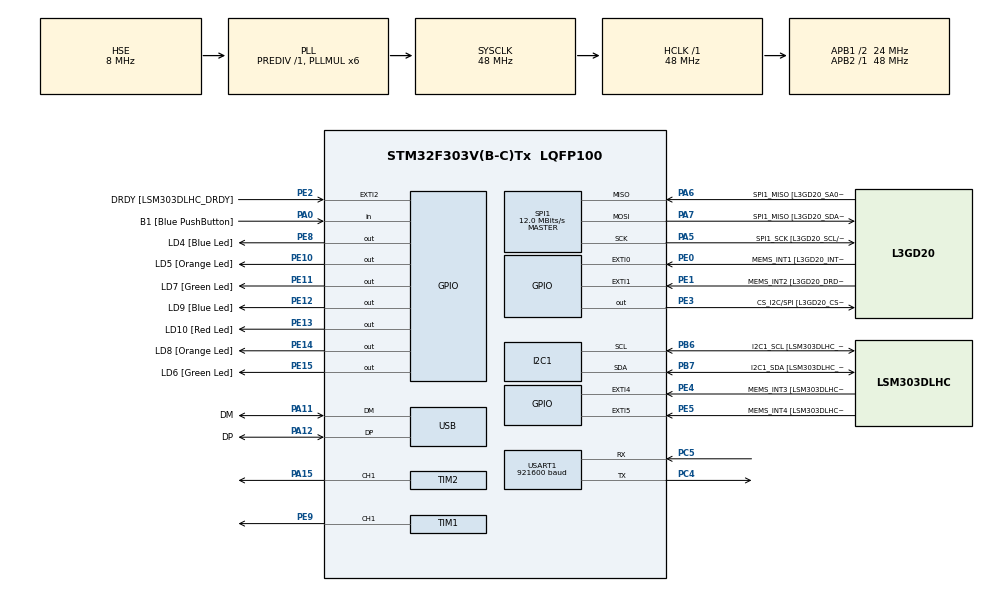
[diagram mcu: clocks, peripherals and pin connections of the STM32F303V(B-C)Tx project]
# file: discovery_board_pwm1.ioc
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I2C1.Timing=0x00201D2B
I2C1.Timing-I2C=0x2000090E
Mcu.Family=STM32F3
Mcu.Name=STM32F303V(B-C)Tx
Mcu.Package=LQFP100
NVIC.PriorityGroup=NVIC_PRIORITYGROUP_0
PA0.GPIO_Label=B1 [Blue PushButton]
PA0.Signal=GPIO_Input
PA11.GPIO_Label=DM
PA11.Mode=Device
PA11.Signal=USB_DM
PA12.GPIO_Label=DP
PA12.Mode=Device
PA12.Signal=USB_DP
PA13.GPIO_Label=SWDIO
PA13.Mode=Serial_Wire
PA13.Signal=SYS_JTMS-SWDIO
PA14.GPIO_Label=SWCLK
PA14.Mode=Serial_Wire
PA14.Signal=SYS_JTCK-SWCLK
PA15.Signal=S_TIM2_CH1_ETR
PA5.GPIO_Label=SPI1_SCK [L3GD20_SCL/SPC]
PA5.Mode=Full_Duplex_Master
PA5.Signal=SPI1_SCK
PA6.GPIO_Label=SPI1_MISO [L3GD20_SA0/SDO]
PA6.Mode=Full_Duplex_Master
PA6.Signal=SPI1_MISO
PA7.GPIO_Label=SPI1_MISO [L3GD20_SDA/SDI/SDO]
PA7.Mode=Full_Duplex_Master
PA7.Signal=SPI1_MOSI
PB3.GPIO_Label=SWO
PB3.Signal=SYS_JTDO-TRACESWO
PB6.GPIO_Label=I2C1_SCL [LSM303DLHC_SCL]
PB6.GPIO_Pu=GPIO_PULLUP
PB6.Mode=I2C
PB6.Signal=I2C1_SCL
PB7.GPIO_Label=I2C1_SDA [LSM303DLHC_SDA]
PB7.GPIO_Pu=GPIO_PULLUP
PB7.Mode=I2C
PB7.Signal=I2C1_SDA
PC14-OSC32_IN.GPIO_Label=OSC32_IN
PC14-OSC32_IN.Signal=RCC_OSC32_IN
PC15-OSC32_OUT.GPIO_Label=OSC32_OUT
PC15-OSC32_OUT.Signal=RCC_OSC32_OUT
PC4.Mode=Asynchronous
PC4.Signal=USART1_TX
PC5.Mode=Asynchronous
PC5.Signal=USART1_RX
PE0.GPIO_Label=MEMS_INT1 [L3GD20_INT1]
PE0.GPIO_ModeDefaultEXTI=GPIO_MODE_EVT_RISING
PE0.Signal=GPXTI0
PE1.GPIO_Label=MEMS_INT2 [L3GD20_DRDY/INT2]
PE1.GPIO_ModeDefaultEXTI=GPIO_MODE_EVT_RISING
PE1.Signal=GPXTI1
PE10.GPIO_Label=LD5 [Orange Led]
PE10.Signal=GPIO_Output
PE11.GPIO_Label=LD7 [Green Led]
PE11.Signal=GPIO_Output
PE12.GPIO_Label=LD9 [Blue Led]
PE12.Signal=GPIO_Output
PE13.GPIO_Label=LD10 [Red Led]
PE13.Signal=GPIO_Output
PE14.GPIO_Label=LD8 [Orange Led]
PE14.Signal=GPIO_Output
PE15.GPIO_Label=LD6 [Green Led]
PE15.Signal=GPIO_Output
PE2.GPIO_Label=DRDY [LSM303DLHC_DRDY]
PE2.GPIO_ModeDefaultEXTI=GPIO_MODE_EVT_RISING
PE2.Signal=GPXTI2
PE3.GPIO_Label=CS_I2C/SPI [L3GD20_CS_I2C/SPI]
PE3.Signal=GPIO_Output
PE4.GPIO_Label=MEMS_INT3 [LSM303DLHC_INT1]
PE4.GPIO_ModeDefaultEXTI=GPIO_MODE_EVT_RISING
PE4.Signal=GPXTI4
PE5.GPIO_Label=MEMS_INT4 [LSM303DLHC_INT2]
PE5.GPIO_ModeDefaultEXTI=GPIO_MODE_EVT_RISING
PE5.Signal=GPXTI5
PE8.GPIO_Label=LD4 [Blue Led]
PE8.Signal=GPIO_Output
PE9.Signal=S_TIM1_CH1
PF0-OSC_IN.GPIO_Label=OSC_IN
PF0-OSC_IN.Mode=HSE-External-Clock-Source
PF0-OSC_IN.Signal=RCC_OSC_IN
PF1-OSC_OUT.GPIO_Label=OSC_OUT
PF1-OSC_OUT.Signal=RCC_OSC_OUT
ProjectManager.HeapSize=0x200
ProjectManager.StackSize=0x400
ProjectManager.TargetToolchain=STM32CubeIDE
RCC.AHBFreq_Value=48000000
RCC.APB1CLKDivider=RCC_HCLK_DIV2
RCC.APB1Freq_Value=24000000
RCC.APB1TimFreq_Value=48000000
RCC.APB2Freq_Value=48000000
RCC.APB2TimFreq_Value=48000000
RCC.CortexFreq_Value=48000000
RCC.HCLKFreq_Value=48000000
RCC.HSE_VALUE=8000000
RCC.HSI_VALUE=8000000
RCC.LSE_VALUE=32768
RCC.PLLMUL=RCC_PLL_MUL6
RCC.SYSCLKFreq_VALUE=48000000
RCC.SYSCLKSourceVirtual=RCC_SYSCLKSOURCE_PLLCLK
RCC.USBFreq_Value=48000000
SH.S_TIM1_CH1.0=TIM1_CH1,PWM Generation1 CH1
SH.S_TIM2_CH1_ETR.0=TIM2_CH1,PWM Generation1 CH1
SPI1.BaudRatePrescaler=SPI_BAUDRATEPRESCALER_4
SPI1.BaudRatePrescaler-Full_Duplex_Master=SPI_BAUDRATEPRESCALER_2
SPI1.CalculateBaudRate=12.0 MBits/s
SPI1.CalculateBaudRate-Full_Duplex_Master=24.0 MBits/s
SPI1.Direction=SPI_DIRECTION_2LINES
SPI1.Mode=SPI_MODE_MASTER
SPI1.Mode-Full_Duplex_Master=SPI_MODE_MASTER
SPI1.VirtualType=VM_MASTER
TIM1.Channel-PWM\ Generation1\ CH1=TIM_CHANNEL_1
TIM1.Period=3199
TIM1.Prescaler=5999
TIM1.Pulse-PWM\ Generation1\ CH1=1600
TIM2.Channel-PWM\ Generation1\ CH1=TIM_CHANNEL_1
TIM2.Period=3199
TIM2.Prescaler=5999
TIM2.Pulse-PWM\ Generation1\ CH1=1600
USART1.BaudRate=921600
USART1.VirtualMode-Asynchronous=VM_ASYNC
VP_TIM1_VS_ClockSourceINT.Mode=Internal
VP_TIM2_VS_ClockSourceINT.Mode=Internal
board=STM32F3DISCOVERY

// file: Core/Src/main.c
/* USER CODE BEGIN Header */
/**
  ******************************************************************************
  * @file           : main.c
  * @brief          : Main program body
  ******************************************************************************
  * @attention
  *
  * Copyright (c) 2025 STMicroelectronics.
  * All rights reserved.
  *
  * This software is licensed under terms that can be found in the LICENSE file
  * in the root directory of this software component.
  * If no LICENSE file comes with this software, it is provided AS-IS.
  *
  ******************************************************************************
  */
/* USER CODE END Header */
#include "main.h"

/* USER CODE BEGIN Includes */
#include <stdio.h>

/* USER CODE END Includes */

I2C_HandleTypeDef hi2c1;

SPI_HandleTypeDef hspi1;

TIM_HandleTypeDef htim1;
TIM_HandleTypeDef htim2;

UART_HandleTypeDef huart1;

PCD_HandleTypeDef hpcd_USB_FS;

void SystemClock_Config(void);
static void MX_GPIO_Init(void);
static void MX_I2C1_Init(void);
static void MX_SPI1_Init(void);
static void MX_USB_PCD_Init(void);
static void MX_USART1_UART_Init(void);
static void MX_TIM1_Init(void);
static void MX_TIM2_Init(void);

/* USER CODE BEGIN 0 */

// Send printf to uart1
int _write(int fd, char* ptr, int len) {
  HAL_StatusTypeDef hstatus;

  if (fd == 1 || fd == 2) {
    hstatus = HAL_UART_Transmit(&huart1, (uint8_t *) ptr, len, HAL_MAX_DELAY);
    if (hstatus == HAL_OK)
      return len;
    else
      return -1;
  }
  return -1;
}

/* USER CODE END 0 */

int main(void)
{

  /* MCU Configuration--------------------------------------------------------*/

  /* Reset of all peripherals, Initializes the Flash interface and the Systick. */
  HAL_Init();

  /* Configure the system clock */
  SystemClock_Config();

  /* Initialize all configured peripherals */
  MX_GPIO_Init();
  MX_I2C1_Init();
  MX_SPI1_Init();
  MX_USB_PCD_Init();
  MX_USART1_UART_Init();
  MX_TIM1_Init();
  MX_TIM2_Init();
  /* USER CODE BEGIN 2 */

  printf("\n\n\nPWM1 starting\n");

  printf("Starting timer channel");
  HAL_TIM_PWM_Start(&htim1, TIM_CHANNEL_1);
  HAL_TIM_PWM_Start(&htim2, TIM_CHANNEL_1);

  /* USER CODE END 2 */

  /* Infinite loop */
  /* USER CODE BEGIN WHILE */

  uint16_t pwm_value = 0;
  int8_t pwm_change = 5;

  uint32_t now = 0, loop_cnt = 0, next_tick = 1000, next_change = 0;

  while (1)
  {
	  now = HAL_GetTick();

	  if ( now >= next_tick) {

		  printf("Tick %lu ( loop = %lu)\n", now / 1000, loop_cnt);

		  loop_cnt = 0;
		  next_tick = now + 1000;
	  }

	  if ( now > next_change) {

		  __HAL_TIM_SET_COMPARE(&htim1, TIM_CHANNEL_1, pwm_value);
		  __HAL_TIM_SET_COMPARE(&htim2, TIM_CHANNEL_1, pwm_value);

		  pwm_value += pwm_change;

		  if(pwm_value == 0) pwm_change = 5;
		  if(pwm_value == 3200) pwm_change = -5;

		  next_change = now + 10;
	  }
	  ++loop_cnt;

    /* USER CODE END WHILE */

  }
}

void SystemClock_Config(void)
{
  RCC_OscInitTypeDef RCC_OscInitStruct = {0};
  RCC_ClkInitTypeDef RCC_ClkInitStruct = {0};
  RCC_PeriphCLKInitTypeDef PeriphClkInit = {0};

  /** Initializes the RCC Oscillators according to the specified parameters
  * in the RCC_OscInitTypeDef structure.
  */
  RCC_OscInitStruct.OscillatorType = RCC_OSCILLATORTYPE_HSI|RCC_OSCILLATORTYPE_HSE;
  RCC_OscInitStruct.HSEState = RCC_HSE_BYPASS;
  RCC_OscInitStruct.HSEPredivValue = RCC_HSE_PREDIV_DIV1;
  RCC_OscInitStruct.HSIState = RCC_HSI_ON;
  RCC_OscInitStruct.HSICalibrationValue = RCC_HSICALIBRATION_DEFAULT;
  RCC_OscInitStruct.PLL.PLLState = RCC_PLL_ON;
  RCC_OscInitStruct.PLL.PLLSource = RCC_PLLSOURCE_HSE;
  RCC_OscInitStruct.PLL.PLLMUL = RCC_PLL_MUL6;
  if (HAL_RCC_OscConfig(&RCC_OscInitStruct) != HAL_OK)
  {
    Error_Handler();
  }

  /** Initializes the CPU, AHB and APB buses clocks
  */
  RCC_ClkInitStruct.ClockType = RCC_CLOCKTYPE_HCLK|RCC_CLOCKTYPE_SYSCLK
                              |RCC_CLOCKTYPE_PCLK1|RCC_CLOCKTYPE_PCLK2;
  RCC_ClkInitStruct.SYSCLKSource = RCC_SYSCLKSOURCE_PLLCLK;
  RCC_ClkInitStruct.AHBCLKDivider = RCC_SYSCLK_DIV1;
  RCC_ClkInitStruct.APB1CLKDivider = RCC_HCLK_DIV2;
  RCC_ClkInitStruct.APB2CLKDivider = RCC_HCLK_DIV1;

  if (HAL_RCC_ClockConfig(&RCC_ClkInitStruct, FLASH_LATENCY_1) != HAL_OK)
  {
    Error_Handler();
  }
  PeriphClkInit.PeriphClockSelection = RCC_PERIPHCLK_USB|RCC_PERIPHCLK_USART1
                              |RCC_PERIPHCLK_I2C1|RCC_PERIPHCLK_TIM1;
  PeriphClkInit.Usart1ClockSelection = RCC_USART1CLKSOURCE_PCLK2;
  PeriphClkInit.I2c1ClockSelection = RCC_I2C1CLKSOURCE_HSI;
  PeriphClkInit.USBClockSelection = RCC_USBCLKSOURCE_PLL;
  PeriphClkInit.Tim1ClockSelection = RCC_TIM1CLK_HCLK;
  if (HAL_RCCEx_PeriphCLKConfig(&PeriphClkInit) != HAL_OK)
  {
    Error_Handler();
  }
}

static void MX_I2C1_Init(void)
{

  hi2c1.Instance = I2C1;
  hi2c1.Init.Timing = 0x00201D2B;
  hi2c1.Init.OwnAddress1 = 0;
  hi2c1.Init.AddressingMode = I2C_ADDRESSINGMODE_7BIT;
  hi2c1.Init.DualAddressMode = I2C_DUALADDRESS_DISABLE;
  hi2c1.Init.OwnAddress2 = 0;
  hi2c1.Init.OwnAddress2Masks = I2C_OA2_NOMASK;
  hi2c1.Init.GeneralCallMode = I2C_GENERALCALL_DISABLE;
  hi2c1.Init.NoStretchMode = I2C_NOSTRETCH_DISABLE;
  if (HAL_I2C_Init(&hi2c1) != HAL_OK)
  {
    Error_Handler();
  }

  /** Configure Analogue filter
  */
  if (HAL_I2CEx_ConfigAnalogFilter(&hi2c1, I2C_ANALOGFILTER_ENABLE) != HAL_OK)
  {
    Error_Handler();
  }

  /** Configure Digital filter
  */
  if (HAL_I2CEx_ConfigDigitalFilter(&hi2c1, 0) != HAL_OK)
  {
    Error_Handler();
  }

}

static void MX_SPI1_Init(void)
{

  /* SPI1 parameter configuration*/
  hspi1.Instance = SPI1;
  hspi1.Init.Mode = SPI_MODE_MASTER;
  hspi1.Init.Direction = SPI_DIRECTION_2LINES;
  hspi1.Init.DataSize = SPI_DATASIZE_4BIT;
  hspi1.Init.CLKPolarity = SPI_POLARITY_LOW;
  hspi1.Init.CLKPhase = SPI_PHASE_1EDGE;
  hspi1.Init.NSS = SPI_NSS_SOFT;
  hspi1.Init.BaudRatePrescaler = SPI_BAUDRATEPRESCALER_4;
  hspi1.Init.FirstBit = SPI_FIRSTBIT_MSB;
  hspi1.Init.TIMode = SPI_TIMODE_DISABLE;
  hspi1.Init.CRCCalculation = SPI_CRCCALCULATION_DISABLE;
  hspi1.Init.CRCPolynomial = 7;
  hspi1.Init.CRCLength = SPI_CRC_LENGTH_DATASIZE;
  hspi1.Init.NSSPMode = SPI_NSS_PULSE_ENABLE;
  if (HAL_SPI_Init(&hspi1) != HAL_OK)
  {
    Error_Handler();
  }

}

static void MX_TIM1_Init(void)
{

  TIM_ClockConfigTypeDef sClockSourceConfig = {0};
  TIM_MasterConfigTypeDef sMasterConfig = {0};
  TIM_OC_InitTypeDef sConfigOC = {0};
  TIM_BreakDeadTimeConfigTypeDef sBreakDeadTimeConfig = {0};

  htim1.Instance = TIM1;
  htim1.Init.Prescaler = 5999;
  htim1.Init.CounterMode = TIM_COUNTERMODE_UP;
  htim1.Init.Period = 3199;
  htim1.Init.ClockDivision = TIM_CLOCKDIVISION_DIV1;
  htim1.Init.RepetitionCounter = 0;
  htim1.Init.AutoReloadPreload = TIM_AUTORELOAD_PRELOAD_DISABLE;
  if (HAL_TIM_Base_Init(&htim1) != HAL_OK)
  {
    Error_Handler();
  }
  sClockSourceConfig.ClockSource = TIM_CLOCKSOURCE_INTERNAL;
  if (HAL_TIM_ConfigClockSource(&htim1, &sClockSourceConfig) != HAL_OK)
  {
    Error_Handler();
  }
  if (HAL_TIM_PWM_Init(&htim1) != HAL_OK)
  {
    Error_Handler();
  }
  sMasterConfig.MasterOutputTrigger = TIM_TRGO_RESET;
  sMasterConfig.MasterOutputTrigger2 = TIM_TRGO2_RESET;
  sMasterConfig.MasterSlaveMode = TIM_MASTERSLAVEMODE_DISABLE;
  if (HAL_TIMEx_MasterConfigSynchronization(&htim1, &sMasterConfig) != HAL_OK)
  {
    Error_Handler();
  }
  sConfigOC.OCMode = TIM_OCMODE_PWM1;
  sConfigOC.Pulse = 1600;
  sConfigOC.OCPolarity = TIM_OCPOLARITY_HIGH;
  sConfigOC.OCNPolarity = TIM_OCNPOLARITY_HIGH;
  sConfigOC.OCFastMode = TIM_OCFAST_DISABLE;
  sConfigOC.OCIdleState = TIM_OCIDLESTATE_RESET;
  sConfigOC.OCNIdleState = TIM_OCNIDLESTATE_RESET;
  if (HAL_TIM_PWM_ConfigChannel(&htim1, &sConfigOC, TIM_CHANNEL_1) != HAL_OK)
  {
    Error_Handler();
  }
  sBreakDeadTimeConfig.OffStateRunMode = TIM_OSSR_DISABLE;
  sBreakDeadTimeConfig.OffStateIDLEMode = TIM_OSSI_DISABLE;
  sBreakDeadTimeConfig.LockLevel = TIM_LOCKLEVEL_OFF;
  sBreakDeadTimeConfig.DeadTime = 0;
  sBreakDeadTimeConfig.BreakState = TIM_BREAK_DISABLE;
  sBreakDeadTimeConfig.BreakPolarity = TIM_BREAKPOLARITY_HIGH;
  sBreakDeadTimeConfig.BreakFilter = 0;
  sBreakDeadTimeConfig.Break2State = TIM_BREAK2_DISABLE;
  sBreakDeadTimeConfig.Break2Polarity = TIM_BREAK2POLARITY_HIGH;
  sBreakDeadTimeConfig.Break2Filter = 0;
  sBreakDeadTimeConfig.AutomaticOutput = TIM_AUTOMATICOUTPUT_DISABLE;
  if (HAL_TIMEx_ConfigBreakDeadTime(&htim1, &sBreakDeadTimeConfig) != HAL_OK)
  {
    Error_Handler();
  }
  HAL_TIM_MspPostInit(&htim1);

}

static void MX_TIM2_Init(void)
{

  TIM_ClockConfigTypeDef sClockSourceConfig = {0};
  TIM_MasterConfigTypeDef sMasterConfig = {0};
  TIM_OC_InitTypeDef sConfigOC = {0};

  htim2.Instance = TIM2;
  htim2.Init.Prescaler = 5999;
  htim2.Init.CounterMode = TIM_COUNTERMODE_UP;
  htim2.Init.Period = 3199;
  htim2.Init.ClockDivision = TIM_CLOCKDIVISION_DIV1;
  htim2.Init.AutoReloadPreload = TIM_AUTORELOAD_PRELOAD_DISABLE;
  if (HAL_TIM_Base_Init(&htim2) != HAL_OK)
  {
    Error_Handler();
  }
  sClockSourceConfig.ClockSource = TIM_CLOCKSOURCE_INTERNAL;
  if (HAL_TIM_ConfigClockSource(&htim2, &sClockSourceConfig) != HAL_OK)
  {
    Error_Handler();
  }
  if (HAL_TIM_PWM_Init(&htim2) != HAL_OK)
  {
    Error_Handler();
  }
  sMasterConfig.MasterOutputTrigger = TIM_TRGO_RESET;
  sMasterConfig.MasterSlaveMode = TIM_MASTERSLAVEMODE_DISABLE;
  if (HAL_TIMEx_MasterConfigSynchronization(&htim2, &sMasterConfig) != HAL_OK)
  {
    Error_Handler();
  }
  sConfigOC.OCMode = TIM_OCMODE_PWM1;
  sConfigOC.Pulse = 1600;
  sConfigOC.OCPolarity = TIM_OCPOLARITY_HIGH;
  sConfigOC.OCFastMode = TIM_OCFAST_DISABLE;
  if (HAL_TIM_PWM_ConfigChannel(&htim2, &sConfigOC, TIM_CHANNEL_1) != HAL_OK)
  {
    Error_Handler();
  }
  HAL_TIM_MspPostInit(&htim2);

}

static void MX_USART1_UART_Init(void)
{

  huart1.Instance = USART1;
  huart1.Init.BaudRate = 921600;
  huart1.Init.WordLength = UART_WORDLENGTH_8B;
  huart1.Init.StopBits = UART_STOPBITS_1;
  huart1.Init.Parity = UART_PARITY_NONE;
  huart1.Init.Mode = UART_MODE_TX_RX;
  huart1.Init.HwFlowCtl = UART_HWCONTROL_NONE;
  huart1.Init.OverSampling = UART_OVERSAMPLING_16;
  huart1.Init.OneBitSampling = UART_ONE_BIT_SAMPLE_DISABLE;
  huart1.AdvancedInit.AdvFeatureInit = UART_ADVFEATURE_NO_INIT;
  if (HAL_UART_Init(&huart1) != HAL_OK)
  {
    Error_Handler();
  }

}

static void MX_USB_PCD_Init(void)
{

  hpcd_USB_FS.Instance = USB;
  hpcd_USB_FS.Init.dev_endpoints = 8;
  hpcd_USB_FS.Init.speed = PCD_SPEED_FULL;
  hpcd_USB_FS.Init.phy_itface = PCD_PHY_EMBEDDED;
  hpcd_USB_FS.Init.low_power_enable = DISABLE;
  hpcd_USB_FS.Init.battery_charging_enable = DISABLE;
  if (HAL_PCD_Init(&hpcd_USB_FS) != HAL_OK)
  {
    Error_Handler();
  }

}

static void MX_GPIO_Init(void)
{
  GPIO_InitTypeDef GPIO_InitStruct = {0};

  /* GPIO Ports Clock Enable */
  __HAL_RCC_GPIOE_CLK_ENABLE();
  __HAL_RCC_GPIOC_CLK_ENABLE();
  __HAL_RCC_GPIOF_CLK_ENABLE();
  __HAL_RCC_GPIOA_CLK_ENABLE();
  __HAL_RCC_GPIOB_CLK_ENABLE();

  /*Configure GPIO pin Output Level */
  HAL_GPIO_WritePin(GPIOE, CS_I2C_SPI_Pin|LD4_Pin|LD5_Pin|LD7_Pin
                          |LD9_Pin|LD10_Pin|LD8_Pin|LD6_Pin, GPIO_PIN_RESET);

  /*Configure GPIO pins : DRDY_Pin MEMS_INT3_Pin MEMS_INT4_Pin MEMS_INT1_Pin
                           MEMS_INT2_Pin */
  GPIO_InitStruct.Pin = DRDY_Pin|MEMS_INT3_Pin|MEMS_INT4_Pin|MEMS_INT1_Pin
                          |MEMS_INT2_Pin;
  GPIO_InitStruct.Mode = GPIO_MODE_EVT_RISING;
  GPIO_InitStruct.Pull = GPIO_NOPULL;
  HAL_GPIO_Init(GPIOE, &GPIO_InitStruct);

  /*Configure GPIO pins : CS_I2C_SPI_Pin LD4_Pin LD5_Pin LD7_Pin
                           LD9_Pin LD10_Pin LD8_Pin LD6_Pin */
  GPIO_InitStruct.Pin = CS_I2C_SPI_Pin|LD4_Pin|LD5_Pin|LD7_Pin
                          |LD9_Pin|LD10_Pin|LD8_Pin|LD6_Pin;
  GPIO_InitStruct.Mode = GPIO_MODE_OUTPUT_PP;
  GPIO_InitStruct.Pull = GPIO_NOPULL;
  GPIO_InitStruct.Speed = GPIO_SPEED_FREQ_LOW;
  HAL_GPIO_Init(GPIOE, &GPIO_InitStruct);

  /*Configure GPIO pin : B1_Pin */
  GPIO_InitStruct.Pin = B1_Pin;
  GPIO_InitStruct.Mode = GPIO_MODE_INPUT;
  GPIO_InitStruct.Pull = GPIO_NOPULL;
  HAL_GPIO_Init(B1_GPIO_Port, &GPIO_InitStruct);

}

void Error_Handler(void)
{
  __disable_irq();
  while (1)
  {
  }
}
